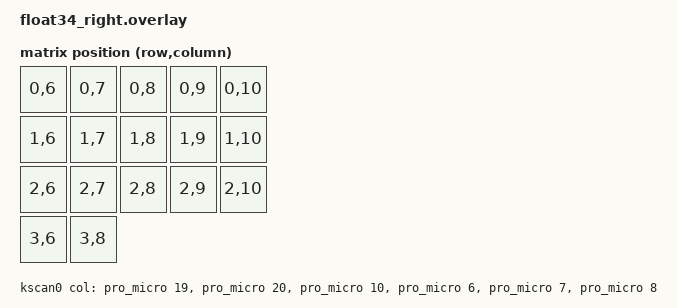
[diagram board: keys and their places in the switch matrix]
#include "float34.dtsi"

/ {
    chosen {
        zmk,matrix-transform = &default_transform;
    };

    default_transform: keymap_transform_0 {
        compatible = "zmk,matrix-transform";
        columns = <12>;
        rows = <4>;
        map = <
            RC(0,6)  RC(0,7)  RC(0,8)  RC(0,9)  RC(0,10)
            RC(1,6)  RC(1,7)  RC(1,8)  RC(1,9)  RC(1,10)
            RC(2,6)  RC(2,7)  RC(2,8)  RC(2,9)  RC(2,10)
            RC(3,6)  RC(3,8)
        >;
    };
};

&kscan0 {
    col-gpios
        = <&pro_micro 19 (GPIO_ACTIVE_HIGH | GPIO_PULL_DOWN)>
        , <&pro_micro 20 (GPIO_ACTIVE_HIGH | GPIO_PULL_DOWN)>
        , <&pro_micro 10 (GPIO_ACTIVE_HIGH | GPIO_PULL_DOWN)>
        , <&pro_micro 6  (GPIO_ACTIVE_HIGH | GPIO_PULL_DOWN)>
        , <&pro_micro 7  (GPIO_ACTIVE_HIGH | GPIO_PULL_DOWN)>
        , <&pro_micro 8  (GPIO_ACTIVE_HIGH | GPIO_PULL_DOWN)>
        ;
};
